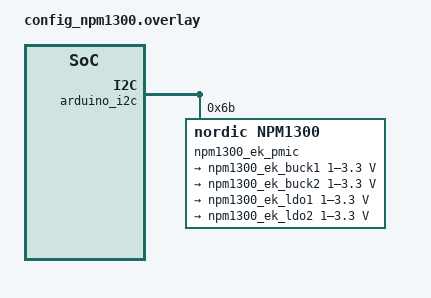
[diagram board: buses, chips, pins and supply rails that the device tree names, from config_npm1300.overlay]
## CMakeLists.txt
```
cmake_minimum_required(VERSION 3.20.0)
find_package(Zephyr REQUIRED HINTS $ENV{ZEPHYR_BASE})

project(nRF52840_MAX30101)

target_sources(app PRIVATE src/main.c)
target_sources(app PRIVATE src/MAX30101.c)
```

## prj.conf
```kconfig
CONFIG_I2C=y

# enable PMIC features
# CONFIG_GPIO=y
# CONFIG_SHELL=y
# CONFIG_LOG=y
# CONFIG_REGULATOR=y
# CONFIG_SENSOR=y
# CONFIG_LED=y
```

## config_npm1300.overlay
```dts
/*
* Copyright (C) 2023 Nordic Semiconductor ASA
* SPDX-License-Identifier: Apache-2.0
*/

#include <dt-bindings/regulator/npm1300.h>
#include <zephyr/dt-bindings/input/input-event-codes.h>

&arduino_i2c {
   npm1300_ek_pmic: pmic@6b {
       compatible = "nordic,npm1300";
       reg = <0x6b>;

       
    // long-press-reset = "one_button";
    // ship-to-active-time = <96>;


       npm1300_ek_gpio: gpio-controller {
           compatible = "nordic,npm1300-gpio";
           gpio-controller;
           #gpio-cells = <2>;
           ngpios = <5>;
       };

       npm1300_ek_regulators: regulators {
           compatible = "nordic,npm1300-regulator";

           
npm1300_ek_buck1: BUCK1 {
    regulator-min-microvolt = <1000000>;
    regulator-max-microvolt = <3300000>;
    
    retention-microvolt = <1200000>;
    
    
    
    
    
};



npm1300_ek_buck2: BUCK2 {
    regulator-min-microvolt = <1000000>;
    regulator-max-microvolt = <3300000>;
    
    retention-microvolt = <1800000>;
    
    
    
    
    
};


            
npm1300_ek_ldo1: LDO1 {
    regulator-min-microvolt = <1000000>;
    regulator-max-microvolt = <3300000>;
    
    regulator-initial-mode = <NPM1300_LDSW_MODE_LDSW>;
    // soft-start-microamp = <10000>;
    
    
};



npm1300_ek_ldo2: LDO2 {
    regulator-min-microvolt = <1000000>;
    regulator-max-microvolt = <3300000>;
    
    regulator-initial-mode = <NPM1300_LDSW_MODE_LDSW>;
    // soft-start-microamp = <10000>;
    
    
};

       };

       
npm1300_ek_charger: charger {
    compatible = "nordic,npm1300-charger";
    term-microvolt = <4200000>;
    term-warm-microvolt = <3600000>;
    // term-current-percent = <10>;
    current-microamp = <110000>;
    // trickle-microvolt = <2900000>;
    dischg-limit-microamp = <270000>;
    vbus-limit-microamp = <500000>;
    thermistor-ohms = <10000>;
    thermistor-beta = <3380>;
    
    charging-enable;
    
};

       
npm1300_ek_leds: leds {
    compatible = "nordic,npm1300-led";
    nordic,led0-mode = "error";    
nordic,led1-mode = "charging";    
nordic,led2-mode = "host";
};

   };
};
```

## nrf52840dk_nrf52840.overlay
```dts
// To get started, press Ctrl+Space to bring up the completion menu and view the available nodes.

// You can also use the buttons in the sidebar to perform actions on nodes.
// Actions currently available include:

// * Enabling / disabling the node
// * Adding the bus to a bus
// * Removing the node
// * Connecting ADC channels

// For more help, browse the DeviceTree documentation at https://docs.zephyrproject.org/latest/guides/dts/index.html
// You can also visit the nRF DeviceTree extension documentation at https://docs.nordicsemi.com/bundle/nrf-connect-vscode/page/guides/ncs_configure_app.html#devicetree-support-in-the-extension
// &i2c0 {
//     mysensor: mysensor@4a{
//         compatible = "i2c-device";
//         reg = < 0x57 >;
//         label = "MYSENSOR";
//     };
// };
&i2c1 {
    status = "okay";
    max30101: max30101@57 {
        compatible = "maxim,max30101";
        reg = <0x57>;
    };
};

// &i2c0_default {
//     group2{
//         psels = <NRF_PSEL(TWIM_SCL,0,27)>,<NRF_PSEL(TWIM_SDA,0,26)>;
//         bias-pull-up;
//     };
// };
// /delete-node/&{/pin-controller/i2c0_default/group1/};
```

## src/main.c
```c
#include <zephyr/kernel.h>
#include <zephyr/drivers/i2c.h>
#include <zephyr/device.h>
#include <zephyr/sys/printk.h>
#include <zephyr/drivers/gpio.h>
// #include <zephyr/devicetree.h>

#include "MAX30101.h"
#define I2C_DEV_NODE DT_NODELABEL(i2c1)

uint32_t last_Red, last_IR, last_Green;
uint32_t Red, IR, Green;
uint32_t counter = 0;
//Interrupt Readings
uint8_t interrupt_flags = 0;
max30101_t particleSensor;
int flag=0;

void particleSensor_FIFO_Readings(max30101_t *dev) {
    max30101_check(dev);
    // printk("check\n");
    while (max30101_available(dev))
    {
        // printk("available\n");
        last_Red   =  max30101_get_fifo_red(dev);
        last_IR    =  max30101_get_fifo_ir(dev);
        last_Green =  max30101_get_fifo_green(dev);
        // printk("-------------------------------------------------\n");

        interrupt_flags = max30101_get_int1(dev);
        // printk("interrupt_flags:%d\n",interrupt_flags);
        if (interrupt_flags){
            max30101_shut_down(dev);
            while(1);
        }
        max30101_next_sample(dev);
        // printk("next_sample\n");
    }
    
}

// struct k_timer my_timer;
// extern void  my_expiry_function(struct k_timer *timer_id);
// k_timer_init(&my_timer, my_expiry_function, NULL);
//---------------------------------------------------------------------------------------
void my_work_handler(struct k_work *work)
{
    particleSensor_FIFO_Readings(&particleSensor);
    Red   =  last_Red;     
    IR    =  last_IR;       
    Green =  last_Green;    
    printk("Red: %u, IR: %u, Green: %u,counter:%u:\n", Red, IR, Green,counter);
    // printk("counter:%u \n ",counter);
    counter++; 
    // flag = 1;
}
K_WORK_DEFINE(my_work, my_work_handler);

void my_timer_handler(struct k_timer *dummy)
{
    k_work_submit(&my_work);
}

K_TIMER_DEFINE(my_timer, my_timer_handler, NULL);

void stop_work_handler(struct k_timer *dummy){
     k_timer_stop(&my_timer);
}
K_TIMER_DEFINE(stop_timer, stop_work_handler, NULL);
//--------------------------------------------------------------------------


void main(void) {
    const struct device *i2c_dev = DEVICE_DT_GET(I2C_DEV_NODE);
    if (!device_is_ready(i2c_dev)) {
        printk("I2C device not found\n");
        return;
    }
    else printk("I2C device found\n");

    // max30101_t particleSensor;
    // Setup MAX30101
    if (!max30101_begin(&particleSensor,i2c_dev)) {
        printk("MAX30101 initialization failed\n");
        return;
    }
    else 
    printk("MAX30101 initialization\n");
    // printk("-------------------------\n");

    // Put IC to low power mode and do software reset
    max30101_shut_down(&particleSensor);
    max30101_soft_reset(&particleSensor);
    k_msleep(500);

    // Setup to sense up to 18 inches, max LED brightness
    uint8_t ledBrightness = 51;   // Options: 0=Off to 255=50mA  51 = 10mA 77 = 15mA 102=20mA
    uint8_t sampleAverage = 1;    // Options: 1, 2, 4, 8, 16, 32
    uint8_t ledMode = 3;          // Options: 1 = Red only, 2 = Red + IR, 3 = Red + IR + Green
    int sampleRate = 3200;        // Options: 50, 100, 200, 400, 800, 1000, 1600, 3200
    int pulseWidth = 411;         // Options: 69, 118, 215, 411
    int adcRange = 16384;         // Options: 2048, 4096, 8192, 16384

    max30101_setup(&particleSensor, ledBrightness, sampleAverage, ledMode, sampleRate, pulseWidth, adcRange);
    printk("Set up OK\n");
    // Interrupt setup
    max30101_enable_afull(&particleSensor);
    max30101_set_fifo_almost_full(&particleSensor, 3);

    // Set LEDs pulse amplitude
    // max30101_set_pulse_amplitude_red(&particleSensor, 51);
    // max30101_set_pulse_amplitude_ir(&particleSensor, 51);
    // max30101_set_pulse_amplitude_green(&particleSensor, 51);
    // printk("Set pulse OK\n");

    // Get IC out of low power mode
    max30101_wake_up(&particleSensor);
    printk("wake up\n");

//-----------------------------------------------------------------------------------------------

/* start a periodic timer that expires once every second */
k_timer_start(&my_timer,  K_MSEC(1), K_MSEC(1));
    // if (flag == 1){
    //     printk("counter:%u \n ",counter);
    //     flag = 0;
    // } 
k_timer_start(&stop_timer, K_SECONDS(10), K_NO_WAIT);



//---------------------------------------------------------------------------------------------
    // uint64_t timeStamp = k_uptime_get();
    // uint64_t starttime= k_uptime_get();
    // // uint64_t temp, runtime = 0;
    // uint32_t counter = 0;
    // uint64_t Time;
    // while (1) {
    //     // 1 kHz sampling loop
    //     if (k_uptime_get() - timeStamp > 1) { //1 ms
    //         timeStamp = k_uptime_get();
    //         // FIFO Readings
    //         particleSensor_FIFO_Readings(&particleSensor);
    //         // printk("FIFO Read\n");

    //         Red   =  last_Red;      // Assign last read value to output debug parameter
    //         IR    =  last_IR;       // Assign last read value to output debug parameter
    //         Green =  last_Green;    // Assign last read value to output debug parameter
    //         printk("Red: %u, IR: %u, Green: %u,counter:%u:\n", Red, IR, Green,counter);
    //         counter++; 
    //         // Sleep to simulate delay 1 ms
    //         // k_msleep(1);
    //     }
    //     uint64_t runtime = k_uptime_get() - starttime;
    //     if (runtime >= 10000)
    //     {
    //         uint64_t lastTime = k_uptime_get();
    //         printk("runtime:%u ",runtime);
    //         printk("starttime:%u ",starttime);
    //         printk("lastTime:%u ",lastTime);
    //         break;
    //     }
        
    // }
    
}
```

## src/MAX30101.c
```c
#include "MAX30101.h"
//Static Registrs
static const uint8_t MAX30101_INTSTAT1  =  0x00;
static const uint8_t MAX30101_INTSTAT2  =  0x01;
static const uint8_t MAX30101_INTENABLE1 = 0x02;
static const uint8_t MAX30101_INTENABLE2 = 0x03;

//FIFO Registers
static const uint8_t MAX30101_FIFOWRITEPTR = 	0x04;
static const uint8_t MAX30101_FIFOOVERFLOW = 	0x05;
static const uint8_t MAX30101_FIFOREADPTR = 	0x06;
static uint8_t MAX30101_FIFODATA =		0x07;

// Configuration Registers
static const uint8_t MAX30101_FIFOCONFIG = 		0x08;
static const uint8_t MAX30101_MODECONFIG = 		0x09;
static const uint8_t MAX30101_PARTICLECONFIG = 	0x0A;   
static const uint8_t MAX30101_LED1_PULSEAMP = 	0x0C;
static const uint8_t MAX30101_LED2_PULSEAMP = 	0x0D;
static const uint8_t MAX30101_LED3_PULSEAMP = 	0x0E;
static const uint8_t MAX30101_LED_PROX_AMP = 	0x10;
static const uint8_t MAX30101_MULTILEDCONFIG1 = 0x11;
static const uint8_t MAX30101_MULTILEDCONFIG2 = 0x12;

// Die Temperature Registers
static const uint8_t MAX30101_DIETEMPINT = 		0x1F;
static const uint8_t MAX30101_DIETEMPFRAC = 	0x20;
static const uint8_t MAX30101_DIETEMPCONFIG = 	0x21;

// Proximity Function Registers
static const uint8_t MAX30101_PROXINTTHRESH = 	0x30;

// Part ID Registers
static const uint8_t MAX30101_REVISIONID = 		0xFE;
static const uint8_t MAX30101_PARTID = 			0xFF;   

//Commands
// Interupt Status (p.13)
static const uint8_t MAX30101_INT_A_FULL_MASK =		(uint8_t)~0b10000000;
static const uint8_t MAX30101_INT_A_FULL_ENABLE = 	0x80;
static const uint8_t MAX30101_INT_A_FULL_DISABLE = 	0x00;

static const uint8_t MAX30101_INT_PPG_RDY_MASK = (uint8_t)~0b01000000;
static const uint8_t MAX30101_INT_PPG_RDY_ENABLE =	0x40;
static const uint8_t MAX30101_INT_PPG_RDY_DISABLE = 0x00;

static const uint8_t MAX30101_INT_ALC_OVF_MASK = (uint8_t)~0b00100000;
static const uint8_t MAX30101_INT_ALC_OVF_ENABLE = 	0x20;
static const uint8_t MAX30101_INT_ALC_OVF_DISABLE = 0x00;

static const uint8_t MAX30101_INT_DIE_TEMP_RDY_MASK = (uint8_t)~0b00000010;
static const uint8_t MAX30101_INT_DIE_TEMP_RDY_ENABLE = 0x02;
static const uint8_t MAX30101_INT_DIE_TEMP_RDY_DISABLE = 0x00;

//FIFO Configuration (p.18)
static const uint8_t MAX30101_SAMPLEAVG_MASK =	(uint8_t)~0b11100000;
static const uint8_t MAX30101_SAMPLEAVG_1 = 	0x00;
static const uint8_t MAX30101_SAMPLEAVG_2 = 	0x20;
static const uint8_t MAX30101_SAMPLEAVG_4 = 	0x40;
static const uint8_t MAX30101_SAMPLEAVG_8 = 	0x60;
static const uint8_t MAX30101_SAMPLEAVG_16 = 	0x80;
static const uint8_t MAX30101_SAMPLEAVG_32 = 	0xA0;

static const uint8_t MAX30101_ROLLOVER_MASK = 	0xEF;
static const uint8_t MAX30101_ROLLOVER_ENABLE = 0x10;
static const uint8_t MAX30101_ROLLOVER_DISABLE = 0x00;

static const uint8_t MAX30101_A_FULL_MASK = 	0xF0;

//Mode Configuration (p.18,19)
static const uint8_t MAX30101_SHUTDOWN_MASK = 	0x7F;
static const uint8_t MAX30101_SHUTDOWN = 		0x80;
static const uint8_t MAX30101_WAKEUP = 			0x00;

static const uint8_t MAX30101_RESET_MASK = 		0xBF;
static const uint8_t MAX30101_RESET = 			0x40;

static const uint8_t MAX30101_MODE_MASK = 		0xF8;
static const uint8_t MAX30101_MODE_REDONLY = 	0x02;
static const uint8_t MAX30101_MODE_REDIRONLY = 	0x03;
static const uint8_t MAX30101_MODE_MULTILED = 	0x07;

//SPO2 Configuration (p.19,20)
static const uint8_t MAX30101_ADCRANGE_MASK = 	0x9F;
static const uint8_t MAX30101_ADCRANGE_2048 = 	0x00;
static const uint8_t MAX30101_ADCRANGE_4096 = 	0x20;
static const uint8_t MAX30101_ADCRANGE_8192 = 	0x40;
static const uint8_t MAX30101_ADCRANGE_16384 = 	0x60;

static const uint8_t MAX30101_SAMPLERATE_MASK = 0xE3;
static const uint8_t MAX30101_SAMPLERATE_50 = 	0x00;
static const uint8_t MAX30101_SAMPLERATE_100 = 	0x04;
static const uint8_t MAX30101_SAMPLERATE_200 = 	0x08;
static const uint8_t MAX30101_SAMPLERATE_400 = 	0x0C;
static const uint8_t MAX30101_SAMPLERATE_800 = 	0x10;
static const uint8_t MAX30101_SAMPLERATE_1000 = 0x14;
static const uint8_t MAX30101_SAMPLERATE_1600 = 0x18;
static const uint8_t MAX30101_SAMPLERATE_3200 = 0x1C;

static const uint8_t MAX30101_PULSEWIDTH_MASK = 0xFC;
static const uint8_t MAX30101_PULSEWIDTH_69 = 	0x00;
static const uint8_t MAX30101_PULSEWIDTH_118 = 	0x01;
static const uint8_t MAX30101_PULSEWIDTH_215 = 	0x02;
static const uint8_t MAX30101_PULSEWIDTH_411 = 	0x03;

//Multi LED Mode Control Registers(p.20,21)
static const uint8_t MAX30101_SLOT1_MASK = 		0xF8;
static const uint8_t MAX30101_SLOT2_MASK = 		0x8F;
static const uint8_t MAX30101_SLOT3_MASK = 		0xF8;
static const uint8_t MAX30101_SLOT4_MASK = 		0x8F;

static const uint8_t SLOT_NONE = 				0x00;
static const uint8_t SLOT_RED_LED = 			0x01;
static const uint8_t SLOT_IR_LED = 				0x02;
static const uint8_t SLOT_GREEN_LED = 			0x03;
static const uint8_t SLOT_NONE_PILOT = 			0x04;
static const uint8_t SLOT_RED_PILOT =			0x05;
static const uint8_t SLOT_IR_PILOT = 			0x06;
static const uint8_t SLOT_GREEN_PILOT = 		0x07;

static const uint8_t MAX_30101_EXPECTEDPARTID = 0x15;

void max30101_init (max30101_t *dev, const struct device *i2c_dev){
    dev->i2c_addr = MAX30101_ADDRESS;
    dev->i2c_dev = i2c_dev;
}

bool max30101_begin(max30101_t *dev, const struct device *i2c_dev) {
    max30101_init(dev,i2c_dev);
    // printk("init OK \n");
    // Initial Communication and Verification
    // Check that a MAX30101 is connected
    if (max30101_read_part_id(dev) != MAX_30101_EXPECTEDPARTID) {
        printk("no begin\n");
        // Error -- Part ID read from MAX30101 does not match expected part ID.
        // This may mean there is a physical connectivity problem (broken wire, unpowered, etc).
        return false;
    }
    // printk("part id OK\n");
    // Populate revision ID
    max30101_read_revision_id(dev);
    // printk("revision ID OK\n");
    return true;
}
//Configuration
//Begin Interrupt configuration
uint8_t max30101_get_int1(max30101_t*dev){
    return max30101_read_register8(dev, MAX30101_INTSTAT1);
}
uint8_t max30101_get_int2(max30101_t*dev){
    return max30101_read_register8(dev,MAX30101_INTSTAT2);
}
void max30101_enable_afull(max30101_t*dev){
    max30101_bitmask(dev,MAX30101_INTENABLE1,MAX30101_INT_A_FULL_MASK,MAX30101_INT_A_FULL_ENABLE);
}
void max30101_disable_afull(max30101_t *dev){
    max30101_bitmask(dev,MAX30101_INTENABLE1,MAX30101_INT_A_FULL_MASK,MAX30101_INT_A_FULL_DISABLE);
}
void max30101_enable_ppgrdy(max30101_t *dev){
    max30101_bitmask(dev,MAX30101_INTENABLE1, MAX30101_INT_PPG_RDY_MASK,MAX30101_INT_PPG_RDY_ENABLE);
}
void max30101_disable_ppgrdy(max30101_t *dev){
    max30101_bitmask(dev,MAX30101_INTENABLE1, MAX30101_INT_PPG_RDY_MASK,MAX30101_INT_PPG_RDY_DISABLE);
}
void max30101_enable_alcovf(max30101_t *dev){
    max30101_bitmask(dev,MAX30101_INTENABLE1,MAX30101_INT_ALC_OVF_MASK,MAX30101_INT_ALC_OVF_ENABLE);
}
void max30101_disable_alcovf(max30101_t *dev){
    max30101_bitmask(dev,MAX30101_INTENABLE1,MAX30101_INT_ALC_OVF_MASK,MAX30101_INT_ALC_OVF_DISABLE);
}
void max30101_enable_dietemprdy(max30101_t *dev){
    max30101_bitmask(dev,MAX30101_INTENABLE2,MAX30101_INT_DIE_TEMP_RDY_MASK,MAX30101_INT_DIE_TEMP_RDY_ENABLE);
}
void max30101_disable_dietemprdy(max30101_t *dev){
    max30101_bitmask(dev,MAX30101_INTENABLE2,MAX30101_INT_DIE_TEMP_RDY_MASK,MAX30101_INT_DIE_TEMP_RDY_DISABLE);
}
//END Interrupt config

void max30101_soft_reset(max30101_t *dev){
    max30101_bitmask(dev,MAX30101_MODECONFIG,MAX30101_RESET_MASK,MAX30101_RESET);
    int64_t start_time = k_uptime_get(); // Get current time in milliseconds
    while (k_uptime_get() - start_time < 100) {
        uint8_t response = max30101_read_register8(dev, MAX30101_MODECONFIG);
        if ((response & MAX30101_RESET) == 0) {
            break; // Reset is complete
        }
        k_msleep(1); // Sleep for 1 millisecond to avoid overloading the I2C bus
    }
}
void max30101_shut_down(max30101_t *dev){
    max30101_bitmask(dev,MAX30101_MODECONFIG,MAX30101_SHUTDOWN_MASK,MAX30101_SHUTDOWN);
}
void max30101_wake_up(max30101_t *dev){
    max30101_bitmask(dev,MAX30101_MODECONFIG,MAX30101_SHUTDOWN_MASK,MAX30101_WAKEUP);
}
void max30101_set_led_mode(max30101_t *dev, uint8_t mode){
    max30101_bitmask(dev,MAX30101_MODECONFIG,MAX30101_MODE_MASK,mode);
}
void max30101_set_adc_range(max30101_t *dev, uint8_t adc_range){
    max30101_bitmask(dev,MAX30101_PARTICLECONFIG,MAX30101_ADCRANGE_MASK,adc_range);
}
void max30101_set_sample_rate(max30101_t *dev, uint8_t sample_rate){
    max30101_bitmask(dev,MAX30101_PARTICLECONFIG,MAX30101_SAMPLERATE_MASK,sample_rate);
}
void max30101_set_pulse_width(max30101_t *dev, uint8_t pulse_width){
    max30101_bitmask(dev,MAX30101_PARTICLECONFIG,MAX30101_PULSEWIDTH_MASK,pulse_width);
}
void max30101_set_pulse_amplitude_red(max30101_t *dev, uint8_t amplitude) {
    max30101_write_register8(dev->i2c_dev, dev->i2c_addr, MAX30101_LED1_PULSEAMP, amplitude);
    // max30101_write_register8(dev, MAX30101_LED1_PULSEAMP, amplitude);

}

void max30101_set_pulse_amplitude_ir(max30101_t *dev, uint8_t amplitude){
    // max30101_write_register8(dev,MAX30101_LED2_PULSEAMP,amplitude);
    max30101_write_register8(dev->i2c_dev, MAX30101_ADDRESS,MAX30101_LED2_PULSEAMP,amplitude);
}
void max30101_set_pulse_amplitude_green(max30101_t *dev, uint8_t amplitude){
    max30101_write_register8(dev->i2c_dev, dev->i2c_addr,MAX30101_LED3_PULSEAMP,amplitude);
    // max30101_write_register8(dev,MAX30101_LED3_PULSEAMP,amplitude);
}

void max30101_enable_slot(max30101_t *dev, uint8_t slot_number, uint8_t device){
    uint8_t originalContents;

    switch (slot_number)
    {
    case 1 :
        max30101_bitmask(dev,MAX30101_MULTILEDCONFIG1,MAX30101_SLOT1_MASK,device);
        break;
    case 2:
        max30101_bitmask(dev,MAX30101_MULTILEDCONFIG1,MAX30101_SLOT2_MASK,device << 4);
        break;
    case 3:
        max30101_bitmask(dev,MAX30101_MULTILEDCONFIG2,MAX30101_SLOT3_MASK,device);
        break;
    case 4:
        max30101_bitmask(dev,MAX30101_MULTILEDCONFIG2,MAX30101_SLOT4_MASK,device);
        break;
    default:
        break;
    }
}
void max30101_disable_slots(max30101_t *dev){
    max30101_write_register8(dev->i2c_dev,dev->i2c_addr,MAX30101_MULTILEDCONFIG1,0);
    max30101_write_register8(dev->i2c_dev,dev->i2c_addr,MAX30101_MULTILEDCONFIG2,2);
}
//FIFO Config
void max30101_set_fifo_average(max30101_t *dev, uint8_t numberOfSamples){
    max30101_bitmask(dev,MAX30101_FIFOCONFIG,MAX30101_SAMPLEAVG_MASK,numberOfSamples);
}
void max30101_clear_fifo(max30101_t *dev){
    max30101_write_register8(dev->i2c_dev,dev->i2c_addr,MAX30101_FIFOWRITEPTR,0);
    max30101_write_register8(dev->i2c_dev,dev->i2c_addr,MAX30101_FIFOOVERFLOW,0);
    max30101_write_register8(dev->i2c_dev,dev->i2c_addr,MAX30101_FIFOREADPTR,0);
}
void max30101_enable_fifo_rollover(max30101_t *dev){
    max30101_bitmask(dev,MAX30101_FIFOCONFIG,MAX30101_ROLLOVER_MASK,MAX30101_ROLLOVER_ENABLE);
}
void max30101_disable_fifo_rollover(max30101_t *dev){
    max30101_bitmask(dev,MAX30101_FIFOCONFIG,MAX30101_ROLLOVER_MASK,MAX30101_ROLLOVER_DISABLE);
}
void max30101_set_fifo_almost_full(max30101_t *dev, uint8_t numberOfSamples){
    max30101_bitmask(dev,MAX30101_FIFOCONFIG,MAX30101_A_FULL_MASK,numberOfSamples);
}
uint8_t max30101_get_write_pointer(max30101_t *dev){
    return max30101_read_register8(dev,MAX30101_FIFOWRITEPTR);
}
uint8_t max30101_get_read_pointer(max30101_t *dev){
    return max30101_read_register8(dev,MAX30101_FIFOREADPTR);
}
//Temperature
float max30101_read_temperature(max30101_t *dev){
    max30101_write_register8(dev->i2c_dev,dev->i2c_addr,MAX30101_DIETEMPCONFIG,0x01);
    // max30101_write_register8(dev,MAX30101_DIETEMPCONFIG,0x01);

    int64_t start_time = k_uptime_get();
    while (k_uptime_get() - start_time < 100)
    {
        uint8_t response = max30101_read_register8(dev, MAX30101_INTSTAT2);
        if ((response & MAX30101_INT_DIE_TEMP_RDY_ENABLE) > 0) {
        break;
        }
        k_msleep(1);
    }
    int8_t temp_int = max30101_read_register8(dev, MAX30101_DIETEMPINT);
    uint8_t temp_frac = max30101_read_register8(dev, MAX30101_DIETEMPFRAC);
    return (float)temp_int + ((float)temp_frac * 0.0625);
}
float max30101_read_temperature_f(max30101_t *dev){
    float temp = max30101_read_temperature(dev);
    if(temp!=-999.0){
        temp = temp * 1.8 + 32.0;
        return temp;
    }
}
uint8_t max30101_read_part_id(max30101_t *dev){
    return max30101_read_register8(dev,MAX30101_PARTID);
}
void max30101_read_revision_id(max30101_t *dev){
    dev->revision_id = max30101_read_register8(dev,MAX30101_REVISIONID);
} 
uint8_t max30101_get_revision_id(max30101_t *dev){
    return dev->revision_id;
}
// Set up Sensor
void max30101_setup(max30101_t *dev, uint8_t power_level, uint8_t sample_average, uint8_t led_mode, int sample_rate, int pulse_width, int adc_range)
{
    max30101_soft_reset(dev);
    //setup fifo
    if(sample_average == 1) max30101_set_fifo_average(dev,MAX30101_SAMPLEAVG_1);
    else if(sample_average == 2)   max30101_set_fifo_average(dev,MAX30101_SAMPLEAVG_2);
    else if (sample_average == 4)  max30101_set_fifo_average(dev,MAX30101_SAMPLEAVG_4);
    else if (sample_average == 8)  max30101_set_fifo_average(dev,MAX30101_SAMPLEAVG_8);
    else if (sample_average == 16) max30101_set_fifo_average(dev,MAX30101_SAMPLEAVG_16);
    else if (sample_average == 32) max30101_set_fifo_average(dev,MAX30101_SAMPLEAVG_32);
    else max30101_set_fifo_average(dev,MAX30101_SAMPLEAVG_4);

    max30101_enable_fifo_rollover(dev);
    //mode Conf
    if (led_mode == 3) max30101_set_led_mode(dev,MAX30101_MODE_MULTILED);
    else if(led_mode == 2) max30101_set_led_mode(dev,MAX30101_MODE_REDIRONLY);
    else max30101_set_led_mode(dev,MAX30101_MODE_REDONLY);
    dev->active_leds = led_mode;
    //Particle Sensing Configuration
    if (adc_range < 4096) max30101_set_adc_range(dev,MAX30101_ADCRANGE_2048);
    else if (adc_range < 8192)   max30101_set_adc_range(dev,MAX30101_ADCRANGE_4096);
    else if (adc_range < 16384)  max30101_set_adc_range(dev,MAX30101_ADCRANGE_8192);
    else if (adc_range == 16384) max30101_set_adc_range(dev,MAX30101_ADCRANGE_16384);
    else max30101_set_adc_range(dev,MAX30101_ADCRANGE_2048);

    if (sample_rate < 100) max30101_set_sample_rate(dev,MAX30101_SAMPLERATE_50);
    else if (sample_rate < 200)   max30101_set_sample_rate(dev,MAX30101_SAMPLERATE_100);
    else if (sample_rate < 400)   max30101_set_sample_rate(dev,MAX30101_SAMPLERATE_200);
    else if (sample_rate < 800)   max30101_set_sample_rate(dev,MAX30101_SAMPLERATE_400);
    else if (sample_rate < 1000)  max30101_set_sample_rate(dev,MAX30101_SAMPLERATE_800);
    else if (sample_rate < 1600)  max30101_set_sample_rate(dev,MAX30101_SAMPLERATE_1000);
    else if (sample_rate < 3200)  max30101_set_sample_rate(dev,MAX30101_SAMPLERATE_1600);
    else if (sample_rate == 3200) max30101_set_sample_rate(dev,MAX30101_SAMPLERATE_3200);
    else max30101_set_sample_rate(dev,MAX30101_SAMPLERATE_50);

    if (pulse_width < 118) max30101_set_pulse_width(dev,MAX30101_PULSEWIDTH_69);
    else if (pulse_width < 215) max30101_set_pulse_width(dev,MAX30101_PULSEWIDTH_118);
    else if (pulse_width < 411) max30101_set_pulse_width(dev,MAX30101_PULSEWIDTH_215);
    else if (pulse_width == 411) max30101_set_pulse_width(dev,MAX30101_PULSEWIDTH_411);
    else max30101_set_pulse_width(dev,MAX30101_PULSEWIDTH_69);
    //LED Pulse Amplitude
    max30101_set_pulse_amplitude_red(dev,power_level);
    max30101_set_pulse_amplitude_green(dev,power_level);
    max30101_set_pulse_amplitude_ir(dev,power_level);
    //Multi-LED mode conf
    max30101_enable_slot(dev,1,SLOT_RED_LED);
    if (led_mode > 1) max30101_enable_slot(dev,2,SLOT_IR_LED);
    if (led_mode > 2) max30101_enable_slot(dev,3,SLOT_GREEN_LED);

    max30101_clear_fifo(dev);
}

//Data Collection
uint8_t max30101_available(max30101_t *dev){
    int8_t numberOfSamples = dev->sense.head - dev->sense.tail;
    if(numberOfSamples < 0){
        numberOfSamples += STORAGE_SIZE;
    }
    // printk("numberOfSamples: %d\n",numberOfSamples);
    return numberOfSamples;
}
uint32_t max30101_get_red(max30101_t *dev){
    if(max30101_safe_check(dev,250))
        return dev->sense.red[dev->sense.head];
    else
        return 0;
}
uint32_t max30101_get_ir(max30101_t *dev){
    if(max30101_safe_check(dev,250))
        return dev->sense.ir[dev->sense.head];
    else
        return 0;
}
uint32_t max30101_get_green(max30101_t *dev){
    if(max30101_safe_check(dev,250))
        return dev->sense.green[dev->sense.head];
    else
        return 0;
}
uint32_t max30101_get_fifo_red(max30101_t *dev){
    return dev->sense.red[dev->sense.tail];
}
uint32_t max30101_get_fifo_ir(max30101_t *dev){
    return dev->sense.ir[dev->sense.tail];
}
uint32_t max30101_get_fifo_green(max30101_t *dev){
    return dev->sense.green[dev->sense.tail];
}
void max30101_next_sample(max30101_t *dev){
    if(max30101_available(dev)){
        dev->sense.tail++;
        dev->sense.tail %= STORAGE_SIZE;
        // printk("tail in next:%d\n",dev->sense.tail);
    }
}

//Polls the sensor for new data
uint16_t max30101_check(max30101_t *dev){
    uint8_t readPointer = max30101_get_read_pointer(dev);
    uint8_t writePointer = max30101_get_write_pointer(dev);

    int numberOfSamples = 0;

    if( readPointer != writePointer){
        numberOfSamples = writePointer - readPointer;
        // printk("numberOfSamples:%d \n",numberOfSamples);
        if(numberOfSamples < 0) numberOfSamples += 32;

        int bytesLeftToRead = numberOfSamples * dev->active_leds *3;
        uint8_t reg = MAX30101_FIFODATA;
        i2c_write(dev->i2c_dev,&reg,1,dev->i2c_addr);
        // printk("bytesLeftToRead:%d \n",bytesLeftToRead);

        while (bytesLeftToRead > 0)
        {
            int toget = bytesLeftToRead;
            //  printk("toget:%d\n",toget);
            if(toget > I2C_BUFFER_LENGTH){
                toget = I2C_BUFFER_LENGTH - (I2C_BUFFER_LENGTH % (dev->active_leds * 3));
                // printk("active_leds:%d \n",dev->active_leds);
                // printk("toget:%d\n",toget);
            }
            bytesLeftToRead -= toget;
            // printk("bytesLeftToRead:%d \n",bytesLeftToRead);

            uint8_t data[toget];
            i2c_read(dev->i2c_dev,data,toget,dev->i2c_addr);
            // printk("toget:%d",toget);
            while(toget > 0)
            {
                dev->sense.head++ ;
                dev->sense.head %= STORAGE_SIZE;

                uint8_t temp[sizeof(uint32_t)];
                uint32_t tempLong;

                temp[3] = 0;
                temp[2] = data[0];
                temp[1] = data[1];
                temp[0] = data[2];

                memcpy(&tempLong,temp,sizeof(tempLong));
                tempLong &= 0x3FFFF;
                dev->sense.red[dev->sense.head] = tempLong;

                if(dev->active_leds > 1){
                    temp[3] = 0;
                    temp[2] = data[3];
                    temp[1] = data[4];
                    temp[0] = data[5];

                    memcpy(&tempLong,temp,sizeof(tempLong));
                    tempLong &= 0x3FFFF;
                    dev->sense.ir[dev->sense.head] = tempLong;
                }
                if(dev->active_leds > 2){
                    temp[3] = 0;
                    temp[2] = data[6];
                    temp[1] = data[7];
                    temp[0] = data[8];

                    memcpy(&tempLong,temp,sizeof(tempLong));
                    tempLong &= 0x3FFFF;
                    dev->sense.green[dev->sense.head] = tempLong;
                }
                toget -= dev->active_leds * 3;
                // printk("toget_last:%d \n",toget);
            }
        }
        
    }
    return numberOfSamples;
}
// bool max30101_safe_check(max30101_t *dev, uint8_t max_time_to_check){

//     uint32_t markTime = k_uptime_get_32();
//     while(1){
//         if (k_uptime_get_32() - markTime > max_time_to_check){
//             return false;
//         }

//         if(max30101_check(dev)){
//             return true;
//         }
//         k_msleep(1);
//     }
// }
bool max30101_safe_check(max30101_t *dev, uint8_t max_time_to_check) {
    uint32_t markTime = k_uptime_get_32();
    while (k_uptime_get_32() - markTime < max_time_to_check) {
        uint8_t status = max30101_get_int1(dev);
        if (status & MAX30101_INT_PPG_RDY_ENABLE) {
            return true;
        }
        k_msleep(1); // Sleep to prevent tight loop
    }
    return false;
}

void max30101_bitmask(max30101_t *dev, uint8_t reg, uint8_t mask, uint8_t thing){
    uint8_t originalContents = max30101_read_register8(dev,reg);
    originalContents = originalContents & mask;
    // max30101_write_register8(dev,reg,originalContents|thing);
    max30101_write_register8(dev->i2c_dev,dev->i2c_addr,reg,originalContents|thing);
}

uint8_t max30101_read_register8(max30101_t *dev, uint8_t reg){
    int ret;
    uint8_t data[1] = {0};
    ret = i2c_write_read_dt(dev, &reg, 1, &data, 1);
    // ret = i2c_burst_read(dev->i2c_dev, dev->i2c_addr, reg, data, sizeof(data));

    // printk("data:%d \n", data[0]);
    // printk("reg:%d \n", reg);
    if (ret != 0) {
        printk("Error read to I2C device: %d\n", ret);
    }
    return data[0];

}
void max30101_write_register8(max30101_t *i2c_dev, uint8_t address, uint8_t reg, uint8_t value) {
    int ret;

    // เขียนค่าไปยังเรจิสเตอร์ที่ระบุในเซ็นเซอร์
    ret = i2c_reg_write_byte(i2c_dev, address, reg, value);
    // printk("write \n");
    // printk("value:%d \n",value);
    if (ret != 0) {
        // printk("Error writing to I2C device: %d\n", ret);
    }
}
```

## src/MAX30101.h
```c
#ifndef MAX30101_H
#define MAX30101_H

#include <zephyr/kernel.h>
#include <zephyr/drivers/i2c.h>
#include <stdint.h>
#include <stdbool.h>

// Define the I2C address for MAX30101
#define MAX30101_ADDRESS 0x57
// #define MAX_30101_EXPECTEDPARTID 0x15

// Define storage size for FIFO buffer
#define STORAGE_SIZE 4

#define I2C_BUFFER_LENGTH 32
// Structure for holding sensor data
typedef struct {
    uint32_t red[STORAGE_SIZE];
    uint32_t ir[STORAGE_SIZE];
    uint32_t green[STORAGE_SIZE];
    uint8_t head;
    uint8_t tail;
} max30101_sense_struct;

// MAX30101 device structure
typedef struct{
    const struct dev *i2c_dev;  // Pointer to I2C device
    uint8_t i2c_addr;           // I2C address of MAX30101
    uint8_t active_leds;           // Number of active LEDs
    uint8_t revision_id;           // Revision ID of the sensor
    max30101_sense_struct sense;   // Circular buffer for storing sensor data

}max30101_t;

// Initialization and basic operation
void max30101_init (max30101_t *dev, const struct device *i2c_dev);
bool max30101_safe_check(max30101_t *dev, uint8_t max_time_to_check);
uint32_t max30101_get_red(max30101_t *dev);
uint32_t max30101_get_ir(max30101_t *dev);
uint32_t max30101_get_green(max30101_t *dev);


// Configuration
void max30101_soft_reset(max30101_t *dev);
void max30101_shut_down(max30101_t *dev);
void max30101_wake_up(max30101_t *dev);
void max30101_set_led_mode(max30101_t *dev, uint8_t mode);
void max30101_set_adc_range(max30101_t *dev, uint8_t adc_range);
void max30101_set_sample_rate(max30101_t *dev, uint8_t sample_rate);
void max30101_set_pulse_width(max30101_t *dev, uint8_t pulse_width);
void max30101_set_pulse_amplitude_red(max30101_t *dev, uint8_t value);
void max30101_set_pulse_amplitude_ir(max30101_t *dev, uint8_t value);
void max30101_set_pulse_amplitude_green(max30101_t *dev, uint8_t value);
// void max30101_set_pulse_amplitude_proximity(max30101_t *dev, uint8_t value);
// void max30101_set_proximity_threshold(max30101_t *dev, uint8_t thresh_msb);

// Multi-LED configuration
void max30101_enable_slot(max30101_t *dev, uint8_t slot_number, uint8_t device);
void max30101_disable_slots(max30101_t *dev);

// Interrupts
uint8_t max30101_get_int1(max30101_t *dev);
uint8_t max30101_get_int2(max30101_t *dev);
void max30101_enable_afull(max30101_t *dev);
void max30101_disable_afull(max30101_t *dev);
void max30101_enable_ppgrdy(max30101_t *dev);
void max30101_disable_ppgrdy(max30101_t *dev);
void max30101_enable_alcovf(max30101_t *dev);
void max30101_disable_alcovf(max30101_t *dev);
// void max30101_enable_proxint(max30101_t *dev);
// void max30101_disable_proxint(max30101_t *dev);
void max30101_enable_dietemprdy(max30101_t *dev);
void max30101_disable_dietemprdy(max30101_t *dev);

// FIFO configuration and reading
void max30101_set_fifo_average(max30101_t *dev, uint8_t samples);
void max30101_enable_fifo_rollover(max30101_t *dev);
void max30101_disable_fifo_rollover(max30101_t *dev);
void max30101_set_fifo_almost_full(max30101_t *dev, uint8_t samples);
uint16_t max30101_check(max30101_t *dev);
uint8_t max30101_available(max30101_t *dev);
void max30101_next_sample(max30101_t *dev);
uint32_t max30101_get_fifo_red(max30101_t *dev);
uint32_t max30101_get_fifo_ir(max30101_t *dev);
uint32_t max30101_get_fifo_green(max30101_t *dev);
uint8_t max30101_get_write_pointer(max30101_t *dev);
uint8_t max30101_get_read_pointer(max30101_t *dev);
void max30101_clear_fifo(max30101_t *dev);

// Die Temperature
float max30101_read_temperature(max30101_t *dev);
float max30101_read_temperature_f(max30101_t *dev);

// Detecting ID/Revision
uint8_t max30101_get_revision_id(max30101_t *dev);
uint8_t max30101_read_part_id(max30101_t *dev);

// Setup the IC with user-selectable settings
void max30101_setup(max30101_t *dev, uint8_t power_level, uint8_t sample_average, uint8_t led_mode, int sample_rate, int pulse_width, int adc_range);

// Low-level I2C communication
uint8_t max30101_read_register8(max30101_t *dev, uint8_t reg);
void max30101_write_register8(max30101_t *dev, uint8_t address, uint8_t reg, uint8_t value);


void max30101_bitmask(max30101_t *dev, uint8_t reg, uint8_t mask, uint8_t thing);
void max30101_read_revision_id(max30101_t *dev);

#endif // MAX30105_H
```
